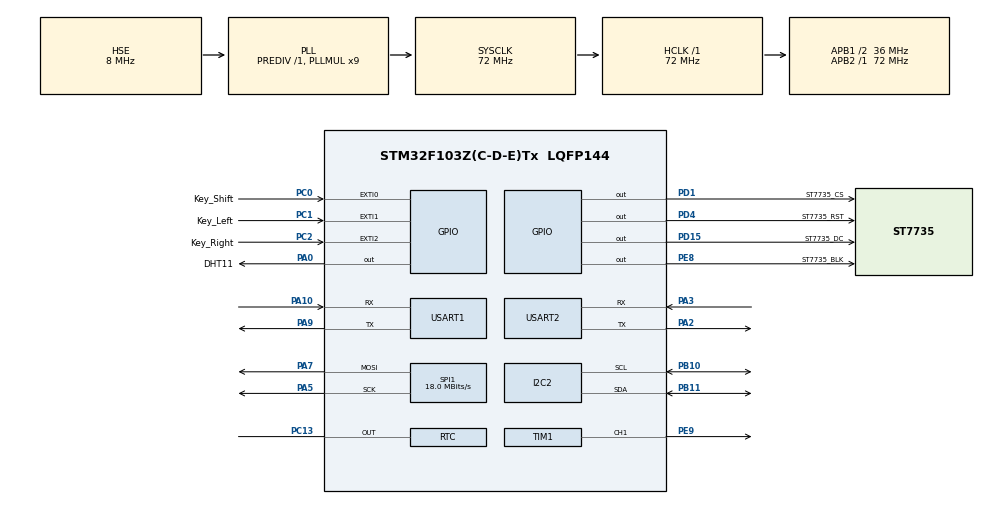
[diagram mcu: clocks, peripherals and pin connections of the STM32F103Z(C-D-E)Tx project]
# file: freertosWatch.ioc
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FREERTOS.Tasks01=defaultTask,0,256,StartDefaultTask,Default,NULL,Dynamic,NULL,NULL
FREERTOS.configTOTAL_HEAP_SIZE=20480
FREERTOS.configUSE_STATS_FORMATTING_FUNCTIONS=1
FREERTOS.configUSE_TIMERS=1
FREERTOS.configUSE_TRACE_FACILITY=1
Mcu.Family=STM32F1
Mcu.Name=STM32F103Z(C-D-E)Tx
Mcu.Package=LQFP144
NVIC.EXTI0_IRQn=true\:5\:0\:false\:false\:true\:true\:true\:true\:true
NVIC.EXTI1_IRQn=true\:5\:0\:false\:false\:true\:true\:true\:true\:true
NVIC.EXTI2_IRQn=true\:5\:0\:false\:false\:true\:true\:true\:true\:true
NVIC.PriorityGroup=NVIC_PRIORITYGROUP_4
NVIC.RTC_Alarm_IRQn=true\:4\:0\:true\:false\:true\:false\:true\:true\:true
NVIC.TIM4_IRQn=true\:2\:0\:true\:false\:true\:false\:false\:true\:true
NVIC.TimeBase=TIM4_IRQn
NVIC.TimeBaseIP=TIM4
OSC_IN.Mode=HSE-External-Oscillator
OSC_IN.Signal=RCC_OSC_IN
OSC_OUT.Mode=HSE-External-Oscillator
OSC_OUT.Signal=RCC_OSC_OUT
PA0-WKUP.GPIO_Label=DHT11
PA0-WKUP.PinState=GPIO_PIN_SET
PA0-WKUP.Signal=GPIO_Output
PA10.Mode=Asynchronous
PA10.Signal=USART1_RX
PA13.Mode=Serial_Wire
PA13.Signal=SYS_JTMS-SWDIO
PA14.Mode=Serial_Wire
PA14.Signal=SYS_JTCK-SWCLK
PA2.Mode=Asynchronous
PA2.Signal=USART2_TX
PA3.Mode=Asynchronous
PA3.Signal=USART2_RX
PA5.Mode=TX_Only_Simplex_Unidirect_Master
PA5.Signal=SPI1_SCK
PA7.Mode=TX_Only_Simplex_Unidirect_Master
PA7.Signal=SPI1_MOSI
PA9.Mode=Asynchronous
PA9.Signal=USART1_TX
PB10.Mode=I2C
PB10.Signal=I2C2_SCL
PB11.Mode=I2C
PB11.Signal=I2C2_SDA
PC0.GPIO_Label=Key_Shift
PC0.GPIO_ModeDefaultEXTI=GPIO_MODE_IT_FALLING
PC0.GPIO_PuPd=GPIO_PULLUP
PC0.Signal=GPXTI0
PC1.GPIO_Label=Key_Left
PC1.GPIO_ModeDefaultEXTI=GPIO_MODE_IT_RISING
PC1.GPIO_PuPd=GPIO_PULLUP
PC1.Signal=GPXTI1
PC13-TAMPER-RTC.Mode=RTC OUT
PC13-TAMPER-RTC.Signal=RTC_OUT
PC14-OSC32_IN.Mode=LSE-External-Oscillator
PC14-OSC32_IN.Signal=RCC_OSC32_IN
PC15-OSC32_OUT.Mode=LSE-External-Oscillator
PC15-OSC32_OUT.Signal=RCC_OSC32_OUT
PC2.GPIO_Label=Key_Right
PC2.GPIO_ModeDefaultEXTI=GPIO_MODE_IT_RISING
PC2.GPIO_PuPd=GPIO_PULLUP
PC2.Signal=GPXTI2
PD1.GPIO_Label=ST7735_CS
PD1.GPIO_Speed=GPIO_SPEED_FREQ_HIGH
PD1.PinState=GPIO_PIN_SET
PD1.Signal=GPIO_Output
PD15.GPIO_Label=ST7735_DC
PD15.GPIO_Speed=GPIO_SPEED_FREQ_HIGH
PD15.PinState=GPIO_PIN_SET
PD15.Signal=GPIO_Output
PD4.GPIO_Label=ST7735_RST
PD4.GPIO_Speed=GPIO_SPEED_FREQ_HIGH
PD4.PinState=GPIO_PIN_SET
PD4.Signal=GPIO_Output
PE8.GPIO_Label=ST7735_BLK
PE8.GPIO_Speed=GPIO_SPEED_FREQ_HIGH
PE8.PinState=GPIO_PIN_SET
PE8.Signal=GPIO_Output
PE9.Signal=S_TIM1_CH1
ProjectManager.HeapSize=0x200
ProjectManager.StackSize=0x400
ProjectManager.TargetToolchain=MDK-ARM V5.32
RCC.AHBFreq_Value=72000000
RCC.APB1CLKDivider=RCC_HCLK_DIV2
RCC.APB1Freq_Value=36000000
RCC.APB1TimFreq_Value=72000000
RCC.APB2Freq_Value=72000000
RCC.APB2TimFreq_Value=72000000
RCC.HCLKFreq_Value=72000000
RCC.PLLMUL=RCC_PLL_MUL9
RCC.PLLSourceVirtual=RCC_PLLSOURCE_HSE
RCC.SYSCLKFreq_VALUE=72000000
RCC.SYSCLKSource=RCC_SYSCLKSOURCE_PLLCLK
RCC.USBFreq_Value=72000000
RTC.Date=27
RTC.Hours=11
RTC.Hours_A-RTC\ OUT=11
RTC.Minutes=33
RTC.Minutes_A-RTC\ OUT=33
RTC.Month=RTC_MONTH_MARCH
RTC.Seconds_A-RTC\ OUT=5
RTC.WeekDay=RTC_WEEKDAY_WEDNESDAY
RTC.Year=25
SH.S_TIM1_CH1.0=TIM1_CH1,PWM Generation1 CH1
SPI1.BaudRatePrescaler=SPI_BAUDRATEPRESCALER_4
SPI1.CalculateBaudRate=18.0 MBits/s
SPI1.Direction=SPI_DIRECTION_2LINES
SPI1.Mode=SPI_MODE_MASTER
SPI1.VirtualType=VM_MASTER
TIM1.AutoReloadPreload=TIM_AUTORELOAD_PRELOAD_ENABLE
TIM1.Channel-PWM\ Generation1\ CH1=TIM_CHANNEL_1
TIM1.OCPolarity_1=TIM_OCPOLARITY_LOW
TIM1.Period=100 - 1
TIM1.Prescaler=720 - 1
TIM1.Pulse-PWM\ Generation1\ CH1=5
USART1.VirtualMode=VM_ASYNC
USART2.VirtualMode=VM_ASYNC
VP_FREERTOS_VS_CMSIS_V1.Mode=CMSIS_V1
VP_RTC_VS_RTC_Activate.Mode=RTC_Enabled
VP_RTC_VS_RTC_Calendar.Mode=RTC_Calendar
VP_SYS_VS_tim4.Mode=TIM4
VP_TIM1_VS_ClockSourceINT.Mode=Internal
board=custom

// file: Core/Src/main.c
/* USER CODE BEGIN Header */
/**
 ******************************************************************************
 * @file           : main.c
 * @brief          : Main program body
 ******************************************************************************
 * @attention
 *
 * Copyright (c) 2025 STMicroelectronics.
 * All rights reserved.
 *
 * This software is licensed under terms that can be found in the LICENSE file
 * in the root directory of this software component.
 * If no LICENSE file comes with this software, it is provided AS-IS.
 *
 ******************************************************************************
 */
/* USER CODE END Header */
#include "main.h"
#include "cmsis_os.h"
#include "i2c.h"
#include "rtc.h"
#include "spi.h"
#include "tim.h"
#include "usart.h"
#include "gpio.h"

/* USER CODE BEGIN Includes */
#include "st7735.h"
#include "MPU6050.h"
#include "shareFunctions.h"
/* USER CODE END Includes */

void SystemClock_Config(void);
void MX_FREERTOS_Init(void);

int main(void)
{

  /* MCU Configuration--------------------------------------------------------*/

  /* Reset of all peripherals, Initializes the Flash interface and the Systick. */
  HAL_Init();

  /* Configure the system clock */
  SystemClock_Config();

  /* Initialize all configured peripherals */
  MX_GPIO_Init();
  MX_USART1_UART_Init();
  MX_RTC_Init();
  MX_USART2_UART_Init();
  MX_SPI1_Init();
  MX_TIM1_Init();
  MX_I2C2_Init();
  /* USER CODE BEGIN 2 */
  HAL_TIM_PWM_Start(&htim1, TIM_CHANNEL_1);
  HAL_TIM_PWM_Stop(&htim1, TIM_CHANNEL_1);
  mypwmstop();
  ST7735_Init();
  MPU_6050_Init();

  // test begin
  // while(1){
  //  HAL_TIM_PWM_Start(&htim1, TIM_CHANNEL_1);
  //  //Stop PWM output
  // }
  //  HAL_Delay(50);
  //  HAL_TIM_PWM_Stop(&htim1, TIM_CHANNEL_1);
  // test end

  // test MPU6050 begin
  //  uint8_t data;
  //  data = I2C_ReadByte(MPU6050_WHO_AM_I);
  //  printf("data = %#x\r\n",data);
  //  while(1){
  //    HAL_Delay(100);
  //    int16_t AccX, AccY, AccZ, GyroX, GyroY, GyroZ;
  //    MPU6050_GetData(&AccX, &AccY, &AccZ, &GyroX, &GyroY, &GyroZ);
  //    //在LCD屏显示
  //    char buffer[32];
  //    sprintf(buffer, "AccX: %d", AccX);
  //    ST7735_DrawString(0, 0, buffer, ST7735_WHITE, ST7735_BLACK, &Font_7x10);

  //   sprintf(buffer, "AccY: %d", AccY);
  //   ST7735_DrawString(0, 10, buffer, ST7735_WHITE, ST7735_BLACK, &Font_7x10);

  //   sprintf(buffer, "AccZ: %d", AccZ);
  //   ST7735_DrawString(0, 20, buffer, ST7735_WHITE, ST7735_BLACK, &Font_7x10);

  //   sprintf(buffer, "GyroX: %d", GyroX);
  //   ST7735_DrawString(0, 30, buffer, ST7735_WHITE, ST7735_BLACK, &Font_7x10);

  //   sprintf(buffer, "GyroY: %d", GyroY);
  //   ST7735_DrawString(0, 40, buffer, ST7735_WHITE, ST7735_BLACK, &Font_7x10);

  //   sprintf(buffer, "GyroZ: %d", GyroZ);
  //   ST7735_DrawString(0, 50, buffer, ST7735_WHITE, ST7735_BLACK, &Font_7x10);
  // }
  // test end
  /* USER CODE END 2 */

  /* Call init function for freertos objects (in cmsis_os2.c) */
  MX_FREERTOS_Init();

  /* Start scheduler */
  osKernelStart();

  /* We should never get here as control is now taken by the scheduler */

  /* Infinite loop */
  while (1)
  {

  }
}

void SystemClock_Config(void)
{
  RCC_OscInitTypeDef RCC_OscInitStruct = {0};
  RCC_ClkInitTypeDef RCC_ClkInitStruct = {0};
  RCC_PeriphCLKInitTypeDef PeriphClkInit = {0};

  /** Initializes the RCC Oscillators according to the specified parameters
  * in the RCC_OscInitTypeDef structure.
  */
  RCC_OscInitStruct.OscillatorType = RCC_OSCILLATORTYPE_LSI|RCC_OSCILLATORTYPE_HSE;
  RCC_OscInitStruct.HSEState = RCC_HSE_ON;
  RCC_OscInitStruct.HSEPredivValue = RCC_HSE_PREDIV_DIV1;
  RCC_OscInitStruct.HSIState = RCC_HSI_ON;
  RCC_OscInitStruct.LSIState = RCC_LSI_ON;
  RCC_OscInitStruct.PLL.PLLState = RCC_PLL_ON;
  RCC_OscInitStruct.PLL.PLLSource = RCC_PLLSOURCE_HSE;
  RCC_OscInitStruct.PLL.PLLMUL = RCC_PLL_MUL9;
  if (HAL_RCC_OscConfig(&RCC_OscInitStruct) != HAL_OK)
  {
    Error_Handler();
  }

  /** Initializes the CPU, AHB and APB buses clocks
  */
  RCC_ClkInitStruct.ClockType = RCC_CLOCKTYPE_HCLK|RCC_CLOCKTYPE_SYSCLK
                              |RCC_CLOCKTYPE_PCLK1|RCC_CLOCKTYPE_PCLK2;
  RCC_ClkInitStruct.SYSCLKSource = RCC_SYSCLKSOURCE_PLLCLK;
  RCC_ClkInitStruct.AHBCLKDivider = RCC_SYSCLK_DIV1;
  RCC_ClkInitStruct.APB1CLKDivider = RCC_HCLK_DIV2;
  RCC_ClkInitStruct.APB2CLKDivider = RCC_HCLK_DIV1;

  if (HAL_RCC_ClockConfig(&RCC_ClkInitStruct, FLASH_LATENCY_2) != HAL_OK)
  {
    Error_Handler();
  }
  PeriphClkInit.PeriphClockSelection = RCC_PERIPHCLK_RTC;
  PeriphClkInit.RTCClockSelection = RCC_RTCCLKSOURCE_LSI;
  if (HAL_RCCEx_PeriphCLKConfig(&PeriphClkInit) != HAL_OK)
  {
    Error_Handler();
  }
}

void HAL_TIM_PeriodElapsedCallback(TIM_HandleTypeDef *htim)
{
  if (htim->Instance == TIM4)
  {
    HAL_IncTick();
  }
}

void Error_Handler(void)
{
  /* USER CODE BEGIN Error_Handler_Debug */
  /* User can add his own implementation to report the HAL error return state */
  printf("Error\r\n");
  __disable_irq();
  while (1)
  {
  }
  /* USER CODE END Error_Handler_Debug */
}

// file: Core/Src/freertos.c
/* USER CODE BEGIN Header */
/**
  ******************************************************************************
  * File Name          : freertos.c
  * Description        : Code for freertos applications
  ******************************************************************************
  * @attention
  *
  * Copyright (c) 2025 STMicroelectronics.
  * All rights reserved.
  *
  * This software is licensed under terms that can be found in the LICENSE file
  * in the root directory of this software component.
  * If no LICENSE file comes with this software, it is provided AS-IS.
  *
  ******************************************************************************
  */
/* USER CODE END Header */

#include "FreeRTOS.h"
#include "task.h"
#include "main.h"
#include "cmsis_os.h"

/* USER CODE BEGIN Includes */
#include "usart.h"
#include "rtc.h"
#include "st7735.h"
#include "gameTask.h"
#include "task2.h"
#include "task3.h"
#include "showTaskInfo.h"
#include "alarmConfigTask.h"
#include "queue.h"
#include "otherTasks.h"
#include "settingTask.h"

#include "tim.h"
#include "shareFunctions.h"
/* USER CODE END Includes */

/* USER CODE BEGIN PTD */
void timerfordino_callback(TimerHandle_t xTimer);
void timerforbuzzer_callback(TimerHandle_t xTimer);
/* USER CODE END PTD */

/* USER CODE BEGIN Variables */

RTC_TimeTypeDef AlarmTime; // 用于存储闹钟时间
uint8_t alarmEnabled = 0; // 闹钟启用标志
/* USER CODE END Variables */
osThreadId defaultTaskHandle;

/* USER CODE BEGIN FunctionPrototypes */
//常驻任务
TaskHandle_t _keysoundTask_handle;

TaskHandle_t gameTask_handle;
TaskHandle_t menu_handle;
TaskHandle_t showTaskInfo_handle;
TaskHandle_t task3_handle;//receive task queue
TaskHandle_t alarmConfig_handle;
TaskHandle_t settingTask_handle;

QueueHandle_t Lcd_Semaphore_Handle;
QueueHandle_t Queue_Semaphore_Handle;

TimerHandle_t timerFordino;
TimerHandle_t timerForbuzzer;

/* USER CODE END FunctionPrototypes */

void StartDefaultTask(void const * argument);

void MX_FREERTOS_Init(void); /* (MISRA C 2004 rule 8.1) */

/* GetIdleTaskMemory prototype (linked to static allocation support) */
void vApplicationGetIdleTaskMemory( StaticTask_t **ppxIdleTaskTCBBuffer, StackType_t **ppxIdleTaskStackBuffer, uint32_t *pulIdleTaskStackSize );

/* GetTimerTaskMemory prototype (linked to static allocation support) */
void vApplicationGetTimerTaskMemory( StaticTask_t **ppxTimerTaskTCBBuffer, StackType_t **ppxTimerTaskStackBuffer, uint32_t *pulTimerTaskStackSize );

/* USER CODE BEGIN GET_IDLE_TASK_MEMORY */
static StaticTask_t xIdleTaskTCBBuffer;
static StackType_t xIdleStack[configMINIMAL_STACK_SIZE];

void vApplicationGetIdleTaskMemory( StaticTask_t **ppxIdleTaskTCBBuffer, StackType_t **ppxIdleTaskStackBuffer, uint32_t *pulIdleTaskStackSize )
{
  *ppxIdleTaskTCBBuffer = &xIdleTaskTCBBuffer;
  *ppxIdleTaskStackBuffer = &xIdleStack[0];
  *pulIdleTaskStackSize = configMINIMAL_STACK_SIZE;
  /* place for user code */
}
/* USER CODE END GET_IDLE_TASK_MEMORY */

/* USER CODE BEGIN GET_TIMER_TASK_MEMORY */
static StaticTask_t xTimerTaskTCBBuffer;
static StackType_t xTimerStack[configTIMER_TASK_STACK_DEPTH];

void vApplicationGetTimerTaskMemory( StaticTask_t **ppxTimerTaskTCBBuffer, StackType_t **ppxTimerTaskStackBuffer, uint32_t *pulTimerTaskStackSize )
{
  *ppxTimerTaskTCBBuffer = &xTimerTaskTCBBuffer;
  *ppxTimerTaskStackBuffer = &xTimerStack[0];
  *pulTimerTaskStackSize = configTIMER_TASK_STACK_DEPTH;
  /* place for user code */
}
/* USER CODE END GET_TIMER_TASK_MEMORY */

void MX_FREERTOS_Init(void) {

  /* USER CODE BEGIN RTOS_SEMAPHORES */
  vSemaphoreCreateBinary(Lcd_Semaphore_Handle);
  Queue_Semaphore_Handle = xSemaphoreCreateBinary();
  /* add semaphores, ... */
  /* USER CODE END RTOS_SEMAPHORES */

  /* Create the thread(s) */
  /* definition and creation of defaultTask */
  osThreadDef(defaultTask, StartDefaultTask, osPriorityNormal, 0, 256);
  defaultTaskHandle = osThreadCreate(osThread(defaultTask), NULL);

}

void StartDefaultTask(void const * argument)
{
  /* USER CODE BEGIN StartDefaultTask */
  taskENTER_CRITICAL();
  timerFordino = xTimerCreate("timerFordino", 100, pdTRUE, (void *) 1, timerfordino_callback);
  timerForbuzzer = xTimerCreate("timerForbuzzer", 100, pdFALSE, (void *) 2, timerforbuzzer_callback);
  if(timerFordino == NULL) {
   printf("Timer creation failed\r\n");
  }
  xTaskCreate(gameTask, "gameTask", 128, NULL, 2, &gameTask_handle);
  xTaskCreate(menutask, "menutask", 128, NULL, 2, &menu_handle);
  xTaskCreate(task3, "task3", 256, NULL, 3, &task3_handle);
  xTaskCreate(alarmConfigTask, "alarmConfig", 128, NULL, 2, &alarmConfig_handle);
  xTaskCreate(settingTask, "settingTask", 128, NULL, 2, &settingTask_handle);
  //常驻任务
  xTaskCreate(_keysoundTask, "_keysoundTask", 128, NULL, 1, &_keysoundTask_handle);
  //xTaskCreate(showTaskInfo, "showTaskInfo", 128, NULL, 3, &showTaskInfo_handle);
  // 创建任务3
  BaseType_t xReturned = xTaskCreate(showTaskInfo, "showTaskInfo", 128, NULL, 3, &showTaskInfo_handle);
  if( xReturned != pdPASS ) {
    // 任务创建失败，打印错误信息
    printf("Task 3 creation failed! Error code: %d\r\n", xReturned);
  }
  //test
  // BaseType_t res = xTimerStart(timerFordino, 0);
  // if(res != pdPASS) {
  //   printf("Timer start failed\r\n");
  // }else{
  //   printf("Timer start success\r\n");
  // }
  //test
  vTaskSuspend(gameTask_handle);
  vTaskSuspend(menu_handle);
  vTaskSuspend(alarmConfig_handle);
  vTaskSuspend(settingTask_handle);
  vTaskDelete(NULL);
  taskEXIT_CRITICAL();

  //删除本任务

  /* Infinite loop */
  for(;;)
  {
    osDelay(1000);
  }
  /* USER CODE END StartDefaultTask */
}

/* USER CODE BEGIN Application */
//外部中断回调函数
uint64_t pretime = 0;
uint8_t rightPress = 0;
extern uint8_t pointer;
extern uint8_t dino_state;
extern uint8_t keyPress;
extern uint8_t gamestatus;
extern uint8_t alarm_pointer;
void HAL_GPIO_EXTI_Callback(uint16_t GPIO_Pin) {
  uint64_t nowtime;
  BaseType_t err;
  BaseType_t xHigherPriorityTaskWoken = pdFALSE;
  if(GPIO_Pin == GPIO_PIN_0) {
    //中断处理
    nowtime = HAL_GetTick();
    if(nowtime - pretime < 150)return;
    keyPress = 1;
    printf("pressed keyPress == %d\r\n",keyPress);
    err = xSemaphoreGiveFromISR(Lcd_Semaphore_Handle, &xHigherPriorityTaskWoken); // 释放信号量
    portYIELD_FROM_ISR(xHigherPriorityTaskWoken);
    if(err!= pdTRUE){
      printf("Key1 xSemaphoreGive failed\r\n");
    }
    else{
      printf("Key1 xSemaphoreGive success\r\n");
    }

  }
  else if(GPIO_Pin == GPIO_PIN_1) {
    nowtime = HAL_GetTick();
    if(nowtime - pretime < 100)return;
    if(pointer < 5)pointer++;
    else pointer = 0;

    dino_state = 2;
    printf("pressed!!!!");
    alarm_pointer++;
    if(alarm_pointer == 4)alarm_pointer = 0;
    keyPress = 1;
    gamestatus = 0;
  }
  else if(GPIO_Pin == GPIO_PIN_2) {
    nowtime = HAL_GetTick();
    if(nowtime - pretime < 100)return;
      err = xSemaphoreGiveFromISR(Queue_Semaphore_Handle, &xHigherPriorityTaskWoken); // 释放信号量
      portYIELD_FROM_ISR(xHigherPriorityTaskWoken);
      if(err!= pdTRUE){
        printf("Key2 xSemaphoreGive failed\r\n");
      }
      else{
        printf("Key2 xSemaphoreGive success\r\n");
      }
  }

  pretime = nowtime;

}
extern float score;
void timerfordino_callback(TimerHandle_t xTimer){
  score += 0.1;
  //屏幕右上角显示分数
  char str[10];
  sprintf(str, "%.1f", score);
  ST7735_DrawString(80, 10, str,ST7735_YELLOW, ST7735_BLACK,&Font_7x10);
}
void timerforbuzzer_callback(TimerHandle_t xTimer){

  HAL_TIM_PWM_Stop(&htim1, TIM_CHANNEL_1);
  mypwmstop();
}
/* USER CODE END Application */
